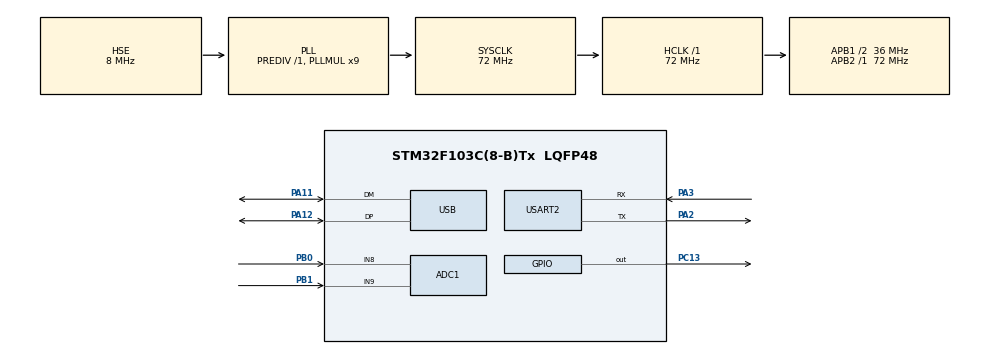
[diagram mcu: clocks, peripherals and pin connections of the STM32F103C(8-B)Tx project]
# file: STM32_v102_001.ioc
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ADC1.Channel-0\#ChannelRegularConversion=ADC_CHANNEL_8
ADC1.Channel-1\#ChannelRegularConversion=ADC_CHANNEL_9
ADC1.ExternalTrigConv=ADC_EXTERNALTRIGCONV_T3_TRGO
ADC1.NbrOfConversion=2
ADC1.NbrOfConversionFlag=1
ADC1.Rank-0\#ChannelRegularConversion=1
ADC1.Rank-1\#ChannelRegularConversion=2
ADC1.SamplingTime-0\#ChannelRegularConversion=ADC_SAMPLETIME_13CYCLES_5
ADC1.SamplingTime-1\#ChannelRegularConversion=ADC_SAMPLETIME_13CYCLES_5
ADC1.master=1
Dma.ADC1.0.Direction=DMA_PERIPH_TO_MEMORY
Dma.ADC1.0.Instance=DMA1_Channel1
Dma.ADC1.0.MemDataAlignment=DMA_MDATAALIGN_HALFWORD
Dma.ADC1.0.MemInc=DMA_MINC_ENABLE
Dma.ADC1.0.Mode=DMA_CIRCULAR
Dma.ADC1.0.PeriphDataAlignment=DMA_PDATAALIGN_HALFWORD
Dma.ADC1.0.PeriphInc=DMA_PINC_DISABLE
Dma.ADC1.0.Priority=DMA_PRIORITY_HIGH
Dma.Request0=ADC1
Mcu.Family=STM32F1
Mcu.Name=STM32F103C(8-B)Tx
Mcu.Package=LQFP48
NVIC.DMA1_Channel1_IRQn=true\:0\:0\:false\:false\:true\:false\:true\:true
NVIC.PriorityGroup=NVIC_PRIORITYGROUP_4
NVIC.USB_LP_CAN1_RX0_IRQn=true\:0\:0\:false\:false\:true\:false\:true\:true
PA11.Mode=Device
PA11.Signal=USB_DM
PA12.Mode=Device
PA12.Signal=USB_DP
PA2.Mode=Asynchronous
PA2.Signal=USART2_TX
PA3.Mode=Asynchronous
PA3.Signal=USART2_RX
PA8.Signal=S_TIM1_CH1
PA9.Signal=S_TIM1_CH2
PB0.Signal=ADCx_IN8
PB1.Signal=ADCx_IN9
PB13.Signal=TIM1_CH1N
PB14.Signal=TIM1_CH2N
PC13-TAMPER-RTC.Signal=GPIO_Output
PD0-OSC_IN.Mode=HSE-External-Oscillator
PD0-OSC_IN.Signal=RCC_OSC_IN
PD1-OSC_OUT.Mode=HSE-External-Oscillator
PD1-OSC_OUT.Signal=RCC_OSC_OUT
ProjectManager.HeapSize=0x200
ProjectManager.StackSize=0x400
ProjectManager.TargetToolchain=Makefile
RCC.ADCPresc=RCC_ADCPCLK2_DIV6
RCC.AHBFreq_Value=72000000
RCC.APB1CLKDivider=RCC_HCLK_DIV2
RCC.APB1Freq_Value=36000000
RCC.APB1TimFreq_Value=72000000
RCC.APB2Freq_Value=72000000
RCC.APB2TimFreq_Value=72000000
RCC.HCLKFreq_Value=72000000
RCC.PLLMUL=RCC_PLL_MUL9
RCC.PLLSourceVirtual=RCC_PLLSOURCE_HSE
RCC.SYSCLKFreq_VALUE=72000000
RCC.SYSCLKSource=RCC_SYSCLKSOURCE_PLLCLK
RCC.USBFreq_Value=48000000
RCC.USBPrescaler=RCC_USBCLKSOURCE_PLL_DIV1_5
SH.ADCx_IN8.0=ADC1_IN8,IN8
SH.ADCx_IN9.0=ADC1_IN9,IN9
SH.S_TIM1_CH1.0=TIM1_CH1
SH.S_TIM1_CH2.0=TIM1_CH2
TIM1.AutoReloadPreload=TIM_AUTORELOAD_PRELOAD_ENABLE
TIM1.Channel-PWM\ Generation1\ CH1=TIM_CHANNEL_1
TIM1.Channel-PWM\ Generation2\ CH2=TIM_CHANNEL_2
TIM1.ClockDivision=TIM_CLOCKDIVISION_DIV1
TIM1.CounterMode=TIM_COUNTERMODE_UP
TIM1.OCIdleState_1=TIM_OCIDLESTATE_RESET
TIM1.OCIdleState_2=TIM_OCIDLESTATE_RESET
TIM1.OCNIdleState_1=TIM_OCNIDLESTATE_RESET
TIM1.OCNIdleState_2=TIM_OCNIDLESTATE_RESET
TIM1.OCNPolarity_1=TIM_OCNPOLARITY_HIGH
TIM1.OCNPolarity_2=TIM_OCNPOLARITY_HIGH
TIM1.OCPolarity_1=TIM_OCPOLARITY_HIGH
TIM1.OCPolarity_2=TIM_OCPOLARITY_HIGH
TIM1.Period=599
TIM1.Prescaler=0
TIM1.Pulse-PWM\ Generation1\ CH1=300
TIM1.Pulse-PWM\ Generation2\ CH2=300
TIM1.RepetitionCounter=0
TIM1.TIM_MasterOutputTrigger=TIM_TRGO_UPDATE
TIM3.ClockDivision=TIM_CLOCKDIVISION_DIV1
TIM3.CounterMode=TIM_COUNTERMODE_UP
TIM3.Period=599
TIM3.Prescaler=0
TIM3.TIM_MasterOutputTrigger=TIM_TRGO_UPDATE
TIM4.Period=4499
USART2.VirtualMode=VM_ASYNC
USB_DEVICE.CLASS_NAME_FS=AUDIO
USB_DEVICE.VirtualMode=Audio
USB_DEVICE.VirtualModeFS=Audio_FS
VP_SYS_VS_ND.Mode=No_Debug
VP_TIM1_VS_ClockSourceINT.Mode=Internal
VP_TIM3_VS_ClockSourceINT.Mode=Internal
VP_TIM4_VS_ClockSourceINT.Mode=Internal
VP_USB_DEVICE_VS_USB_DEVICE_AUDIO_FS.Mode=AUDIO_FS
board=custom

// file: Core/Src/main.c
/* USER CODE BEGIN Header */
/**
  ******************************************************************************
  * @file           : main.c
  * @brief          : Main program body
  *
  * STM32F103C8T6 USB Audio -> Stereo BTL Class-D DAC (CubeMX HAL, Cベアメタル)
  *
  *   TIM1  : 120kHz 相補PWM (CH1/CH1N, CH2/CH2N), DeadTime = 7
  *   TIM3  : 120kHz Update -> TRGO -> ADC1 外部トリガー
  *   TIM4  : USBオーディオ サンプルレート(16kHz)割り込みタイマー
  *   ADC1  : CH8(PB0=LEFT), CH9(PB1=RIGHT) -> DMA1 Channel1 循環転送
  *           (USBオーディオ再生中はCCR書き込みを一時停止、非再生時は有効)
  *   USART2: 115200bps (PA2=TX, PA3=RX)
  *   USB   : USB Audio Class 1.0 (16bit/16kHz/stereo) スピーカーとしてPCに認識
  ******************************************************************************
  */
/* USER CODE END Header */

#include "main.h"
#include "adc.h"
#include "dma.h"
#include "tim.h"
#include "usart.h"
#include "gpio.h"
#include "usb_device.h"
#include "usbd_audio_if.h"
#include <stdio.h>
#include <string.h>

void SystemClock_Config(void);
static void TIM1_UpdatePWMFromADC(uint16_t left, uint16_t right);
static void UART2_Print(const char *s);
static void UART2_PrintPCM8Debug(void);

int main(void)
{
  /* MCU Configuration--------------------------------------------------------*/
  HAL_Init();

  /* Configure the system clock : HSE 8MHz -> PLLx9 -> 72MHz */
  SystemClock_Config();

  /* Initialize all configured peripherals */
  MX_GPIO_Init();
  MX_DMA_Init();
  MX_ADC1_Init();
  MX_TIM1_Init();
  MX_TIM3_Init();
  MX_TIM4_Init();     /* USBオーディオ サンプルレート(16kHz)タイマー */
  MX_USART2_UART_Init();

  /* USER CODE BEGIN 2 */

  /* ADC1 キャリブレーション (F1では起動直後に必須) */
  if (HAL_ADCEx_Calibration_Start(&hadc1) != HAL_OK)
  {
    Error_Handler();
  }

  /* TIM1 相補PWM開始 (CH1/CH1N=LEFT, CH2/CH2N=RIGHT) */
  if (HAL_TIM_PWM_Start(&htim1, TIM_CHANNEL_1) != HAL_OK)
  {
    Error_Handler();
  }
  if (HAL_TIMEx_PWMN_Start(&htim1, TIM_CHANNEL_1) != HAL_OK)
  {
    Error_Handler();
  }
  if (HAL_TIM_PWM_Start(&htim1, TIM_CHANNEL_2) != HAL_OK)
  {
    Error_Handler();
  }
  if (HAL_TIMEx_PWMN_Start(&htim1, TIM_CHANNEL_2) != HAL_OK)
  {
    Error_Handler();
  }

  /* ADC1 + DMA開始 (TIM3 TRGOトリガー待ち) */
  if (HAL_ADC_Start_DMA(&hadc1, (uint32_t *)adc_buf, ADC_BUF_SIZE) != HAL_OK)
  {
    Error_Handler();
  }

  /* TIM3開始 (Update -> TRGO -> ADC1トリガー) */
  if (HAL_TIM_Base_Start(&htim3) != HAL_OK)
  {
    Error_Handler();
  }

  /* USART2 起動メッセージ */
  UART2_Print("STM32 USB Audio DAC v1 (bare-metal HAL) START\r\n");

  /* USB Audio Class デバイス初期化 (16bit / 16kHz / stereo) */
  MX_USB_DEVICE_Init();
  UART2_Print("USB Audio Class device started\r\n");

  /* USER CODE END 2 */

  /* Infinite loop */
  /* USER CODE BEGIN WHILE */
  uint32_t led_last_tick = HAL_GetTick();
  while (1)
  {
    UART2_PrintPCM8Debug();

    if ((HAL_GetTick() - led_last_tick) >= 500U)
    {
      led_last_tick = HAL_GetTick();
      HAL_GPIO_TogglePin(LED_GPIO_Port, LED_Pin);

      if (g_usb_audio_playing)
      {
        UART2_Print("[status] USB audio playing -> PWM\r\n");
      }
      else
      {
        UART2_Print("[status] ADC analog input -> PWM\r\n");
      }
    }
  }
  /* USER CODE END WHILE */
}

/* USER CODE BEGIN 4 */

/**
  * @brief ADC 変換完了コールバック
  *
  *   DMA1_Channel1_IRQHandler()
  *       -> HAL_DMA_IRQHandler()
  *       -> HAL_ADC_ConvCpltCallback()
  *
  * USBオーディオ再生中(g_usb_audio_playing==1)は、TIM1のCCRを
  * usbd_audio_if.c 側(TIM4割り込み)が書き込んでいるため、ここでの
  * 上書きをスキップして衝突を避ける。
  * @retval None
  */
void HAL_ADC_ConvCpltCallback(ADC_HandleTypeDef *hadc)
{
  if (hadc->Instance != ADC1)
  {
    return;
  }

  if (g_usb_audio_playing)
  {
    /* USBオーディオがCCRを制御中なのでADC側は何もしない */
    return;
  }

  /* adc_buf[0]=LEFT(PB0/CH8), adc_buf[1]=RIGHT(PB1/CH9) */
  TIM1_UpdatePWMFromADC(adc_buf[0], adc_buf[1]);
}

/**
  * @brief ADC(0..4095) -> PWM CCR(PWM_CCR_MIN..PWM_CCR_MAX) 変換して反映
  * @retval None
  */
static void TIM1_UpdatePWMFromADC(uint16_t left, uint16_t right)
{
  uint32_t ccr1 = PWM_CCR_MIN + ((uint32_t)left  * (PWM_CCR_MAX - PWM_CCR_MIN)) / 4095U;
  uint32_t ccr2 = PWM_CCR_MIN + ((uint32_t)right * (PWM_CCR_MAX - PWM_CCR_MIN)) / 4095U;

  __HAL_TIM_SET_COMPARE(&htim1, TIM_CHANNEL_1, ccr1);
  __HAL_TIM_SET_COMPARE(&htim1, TIM_CHANNEL_2, ccr2);
}

/**
  * @brief USART2 文字列送信ヘルパ
  * @retval None
  */
static void UART2_Print(const char *s)
{
  HAL_UART_Transmit(&huart2, (uint8_t *)s, (uint16_t)strlen(s), HAL_MAX_DELAY);
}

/**
 * @brief 8サンプル平均済みPCMをmainコンテキストから出力する。
 *        割込み内でUART待ちを行わないため、16kHzのPWM更新を阻害しない。
 */
static void UART2_PrintPCM8Debug(void)
{
  int16_t left;
  int16_t right;
  char line[40];

  if (AUDIO_DebugPop(&left, &right) != 0U)
  {
    int len = snprintf(line, sizeof(line), "PCM8 L=%d R=%d\\r\\n", (int)left, (int)right);
    if (len > 0)
    {
      HAL_UART_Transmit(&huart2, (uint8_t *)line, (uint16_t)len, HAL_MAX_DELAY);
    }
  }
}

/* USER CODE END 4 */

void SystemClock_Config(void)
{
  RCC_OscInitTypeDef RCC_OscInitStruct = {0};
  RCC_ClkInitTypeDef RCC_ClkInitStruct = {0};
  RCC_PeriphCLKInitTypeDef PeriphClkInit = {0};

  /** Initializes the RCC Oscillators according to the specified parameters
  * in the RCC_OscInitTypeDef structure.
  */
  RCC_OscInitStruct.OscillatorType = RCC_OSCILLATORTYPE_HSE;
  RCC_OscInitStruct.HSEState       = RCC_HSE_ON;
  RCC_OscInitStruct.HSEPredivValue = RCC_HSE_PREDIV_DIV1;
  RCC_OscInitStruct.HSIState       = RCC_HSI_ON;
  RCC_OscInitStruct.PLL.PLLState   = RCC_PLL_ON;
  RCC_OscInitStruct.PLL.PLLSource  = RCC_PLLSOURCE_HSE;
  RCC_OscInitStruct.PLL.PLLMUL     = RCC_PLL_MUL9;
  if (HAL_RCC_OscConfig(&RCC_OscInitStruct) != HAL_OK)
  {
    Error_Handler();
  }

  /** Initializes the CPU, AHB and APB buses clocks
  */
  RCC_ClkInitStruct.ClockType = RCC_CLOCKTYPE_HCLK | RCC_CLOCKTYPE_SYSCLK
                              | RCC_CLOCKTYPE_PCLK1 | RCC_CLOCKTYPE_PCLK2;
  RCC_ClkInitStruct.SYSCLKSource   = RCC_SYSCLKSOURCE_PLLCLK;
  RCC_ClkInitStruct.AHBCLKDivider  = RCC_SYSCLK_DIV1;
  RCC_ClkInitStruct.APB1CLKDivider = RCC_HCLK_DIV2;  /* APB1=36MHz, TIM3clk=x2=72MHz */
  RCC_ClkInitStruct.APB2CLKDivider = RCC_HCLK_DIV1;  /* APB2=72MHz */

  if (HAL_RCC_ClockConfig(&RCC_ClkInitStruct, FLASH_LATENCY_2) != HAL_OK)
  {
    Error_Handler();
  }

  /* USB FSには48MHzが必要。SYSCLK=72MHzのPLLを1.5分周して供給する。 */
  PeriphClkInit.PeriphClockSelection = RCC_PERIPHCLK_USB;
  PeriphClkInit.UsbClockSelection    = RCC_USBCLKSOURCE_PLL_DIV1_5;
  if (HAL_RCCEx_PeriphCLKConfig(&PeriphClkInit) != HAL_OK)
  {
    Error_Handler();
  }
}

void Error_Handler(void)
{
  __disable_irq();
  while (1)
  {
  }
}

#ifdef USE_FULL_ASSERT
/**
  * @brief  Reports the name of the source file and the source line number
  *         where the assert_param error has occurred.
  * @param  file: pointer to the source file name
  * @param  line: assert_param error line source number
  * @retval None
  */
void assert_failed(uint8_t *file, uint32_t line)
{
  /* USER CODE BEGIN 6 */
  /* User can add implementation to report the file name and line number */
  /* USER CODE END 6 */
}
#endif /* USE_FULL_ASSERT */
